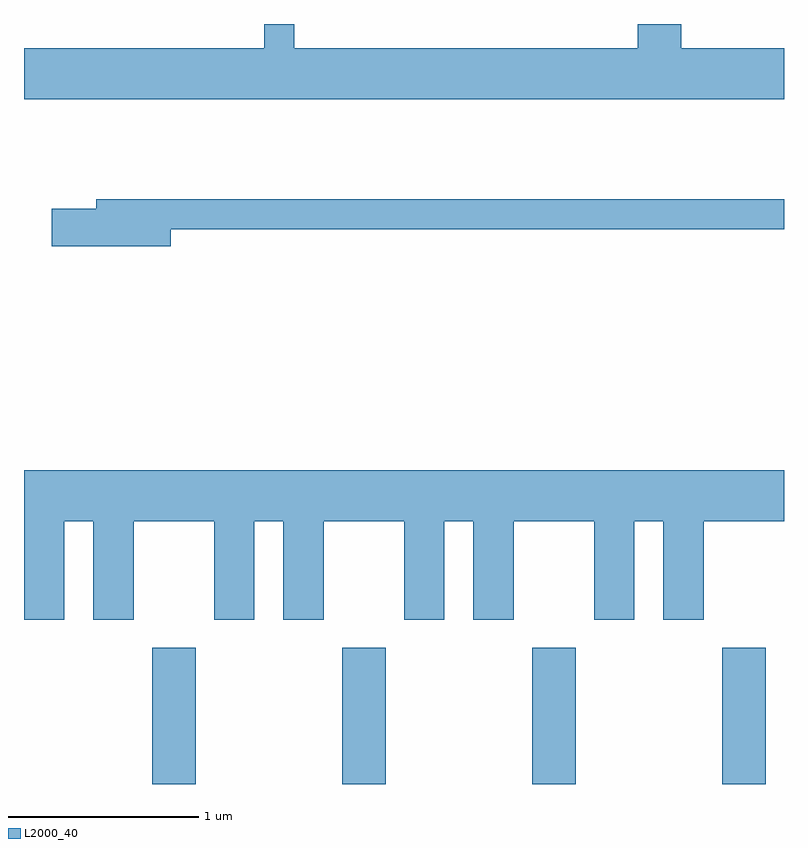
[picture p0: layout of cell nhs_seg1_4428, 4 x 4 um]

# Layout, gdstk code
import gdstk
lib = gdstk.Library(unit=1e-6, precision=1e-09)
def R(c, l, rs):  # rectangles x0, y0, x1, y1
    for r in rs: c.add(gdstk.rectangle(r[:2], r[2:], *l))
def A(c, l, x, y, w, h, nx, ny, dx, dy):  # array of equal rectangles
    R(c, l, [(x+i*dx, y+j*dy, x+i*dx+w, y+j*dy+h) for i in range(nx) for j in range(ny)])
def P(c, l, *ps):  # polygons
    for p in ps: c.add(gdstk.Polygon(p, *l))
L2000_40 = (2000, 40)

nhs_seg1_4428 = lib.new_cell('nhs_seg1_4428')
A(nhs_seg1_4428, L2000_40, 318.286, 933.712, 0.228, 0.717, 4, 1, 1, 0)
P(nhs_seg1_4428, L2000_40, [(321.611,937.584),(321.069,937.584),(321.069,937.712),(320.841,937.712),(320.841,937.584),(319.034,937.584),(319.034,937.712),(318.876,937.712),(318.876,937.584),(317.611,937.584),(317.611,937.316),(321.611,937.316)],
  [(318.384,936.631),(321.611,936.631),(321.611,936.789),(317.991,936.789),(317.991,936.739),(317.756,936.739),(317.756,936.541),(318.384,936.541)],
  [(317.824,935.096),(317.976,935.096),(317.976,934.576),(318.189,934.576),(318.189,935.096),(318.611,935.096),(318.611,934.576),(318.824,934.576),(318.824,935.096),(318.976,935.096),(318.976,934.576),(319.189,934.576),(319.189,935.096),(319.611,935.096),(319.611,934.576),(319.824,934.576),(319.824,935.096),(319.976,935.096),(319.976,934.576),(320.189,934.576),(320.189,935.096),(320.611,935.096),(320.611,934.576),(320.824,934.576),(320.824,935.096),(320.976,935.096),(320.976,934.576),(321.189,934.576),(321.189,935.096),(321.611,935.096),(321.611,935.364),(317.611,935.364),(317.611,934.576),(317.824,934.576)])

lib.write_gds('nhs_seg1_4428.gds')
